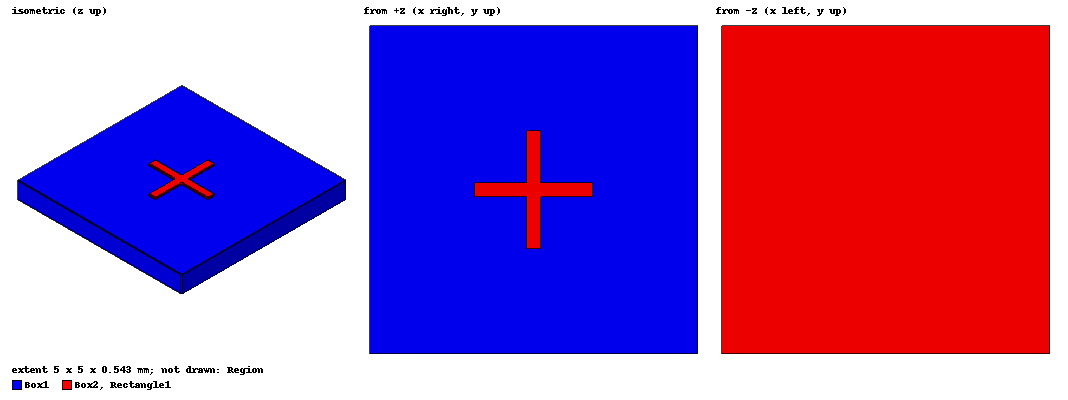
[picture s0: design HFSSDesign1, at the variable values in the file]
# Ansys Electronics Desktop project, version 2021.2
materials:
  vacuum: permittivity=1
  Rogers RT/duroid 5880 (tm): permittivity=2.2 dielectric_loss_tangent=0.0009
  pec: conductivity=1e+30
  copper: permeability=0.999991 conductivity=58000000

design HFSSDesign1 (HFSS, DrivenModal, model units mm)
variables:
  margin = 1mm
  parameters = [1.8, 0.2, 0.035, 0.508, 5] mm
  H = parameters[3]
  Xsize = parameters[4]
  Ysize = parameters[4]
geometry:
  Rectangle1 = rectangle(corner=(0mm, 0mm, 0mm), x_size=Xsize, y_size=Ysize)
  Box1 [Rogers RT/duroid 5880 (tm)] = box(corner=(0mm, 0mm, 0mm), size=(Xsize, Ysize, H))
  Region [vacuum] = region(absolute_offset: +X=0mm, -X=0mm, +Y=0mm, -Y=0mm, +Z=10mm, -Z=10mm)
  Box2 [copper] = box(corner=(Xsize/2 - parameters[1] /2, Ysize/2 - parameters[0]/2, parameters[3]), size=(parameters[1], parameters[0], parameters[2]))
  Box3 = box(corner=(XSize/2 -parameters[0]/2, YSize/2-parameters[1]/2, parameters[3]), size=(parameters[0], parameters[1], parameters[2]))
  Box2.unite(Box3)
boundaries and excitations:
  PerfE1: Perfect E Objects=Rectangle1
  Primary1: Primary Faces=Region.face(+x) CoordSysVector{Region.vertex(1 of 8) -> Region.vertex(2 of 8)}
  Primary2: Primary Faces=Region.face(+y) CoordSysVector{Region.vertex(2 of 8) -> Region.vertex(3 of 8)}
  Secondary1: Secondary Faces=Region.face(-y) CoordSysVector{Region.vertex(1 of 8) -> Region.vertex(4 of 8)} ReverseV primary=Primary2 PhaseDelay=UseScanAngle Phi=0deg Theta=0deg
  Secondary2: Secondary Faces=Region.face(-x) CoordSysVector{Region.vertex(4 of 8) -> Region.vertex(3 of 8)} ReverseV primary=Primary1 PhaseDelay=UseScanAngle Phi=0deg Theta=0deg
  FloquetPort1: Floquet Port Faces=Region.face(+z) NumModes=2 DeembedDist=10mm Modes{Mode1{CharImp=Zpi} Mode2{CharImp=Zpi}} PhaseDelay=UseScanAngle Phi=0deg Theta=0deg LatticeAVector{Region.vertex(1 of 8) -> Region.vertex(2 of 8)} LatticeBVector{Region.vertex(1 of 8) -> Region.vertex(4 of 8)} ModesList{Mode{ModeNumber=1 IndexM=0 IndexN=0 KC2=0 PropagationState=Propagating Attenuation=0 PolarizationState=TE AffectsRefinement} Mode{ModeNumber=2 IndexM=0 IndexN=0 KC2=0 PropagationState=Propagating Attenuation=0 PolarizationState=TM AffectsRefinement}}
  FloquetPort2: Floquet Port Faces=Region.face(-z) NumModes=2 DeembedDist=10mm Modes{Mode1{CharImp=Zpi} Mode2{CharImp=Zpi}} PhaseDelay=UseScanAngle Phi=0deg Theta=0deg LatticeAVector{Region.vertex(6 of 8) -> Region.vertex(5 of 8)} LatticeBVector{Region.vertex(6 of 8) -> Region.vertex(7 of 8)} ModesList{Mode{ModeNumber=1 IndexM=0 IndexN=0 KC2=0 PropagationState=Propagating Attenuation=0 PolarizationState=TE AffectsRefinement} Mode{ModeNumber=2 IndexM=0 IndexN=0 KC2=0 PropagationState=Propagating Attenuation=0 PolarizationState=TM AffectsRefinement}}
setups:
  Setup1: HfssDriven Frequency=50GHz MaxDeltaS=0.02 MaximumPasses=5 MinimumPasses=1 MinimumConvergedPasses=3 PercentRefinement=30 BasisOrder=1 PortAccuracy=2
    sweep Sweep: 40GHz to 60GHz step 0.05GHz; Type=Interpolating InterpTolerance=0.5 InterpMaxSolns=250 InterpUsePortImped=false PassivityErrorTolerance=0.0001
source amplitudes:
  FloquetPort1:1: 1W 0deg
  FloquetPort1:2, FloquetPort2:1, FloquetPort2:2: 0W 0deg
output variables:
  transmittance = (mag(S(FloquetPort2:1,FloquetPort1:1)))^2
  transmittanceTM = (mag(S(FloquetPort2:2,FloquetPort1:2)))^2
  ReflectanceTE = (mag(S(FloquetPort1:1,FloquetPort1:1)))^2
  ReflectanceTM = (mag(S(FloquetPort1:2,FloquetPort1:2)))^2
  AbsorbanceTE = 1-((mag(S(FloquetPort1:1,FloquetPort1:1)))^2 +(mag(S(FloquetPort2:1,FloquetPort1:1)))^2)
  AbsorbanceTM = 1-((mag(S(FloquetPort1:2,FloquetPort1:2)))^2 +(mag(S(FloquetPort2:2,FloquetPort1:2)))^2)
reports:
  Transmittance: transmittance, transmittanceTM vs Freq on Setup1 : Sweep
  TE: dB(S(FloquetPort1:1,FloquetPort1:1)), dB(S(FloquetPort2:1,FloquetPort1:1)) vs Freq on Setup1 : Sweep
  TM: dB(S(FloquetPort1:2,FloquetPort1:2)), dB(S(FloquetPort2:2,FloquetPort1:2)) vs Freq on Setup1 : Sweep
  Reflectance: ReflectanceTE, ReflectanceTM vs Freq on Setup1 : Sweep; markers MX1 at x=5.676259e+10
  Absorption: AbsorbanceTM, AbsorbanceTE vs Freq on Setup1 : Sweep
